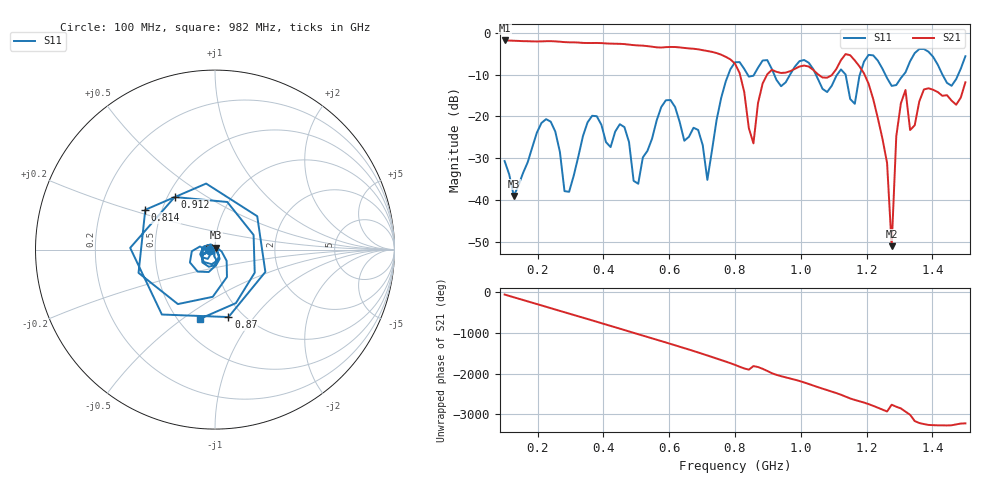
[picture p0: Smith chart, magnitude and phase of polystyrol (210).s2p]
! NanoVNA-App
! Date: 2025-09-25 15:31:31
! Start: 100MHz Stop: 1,5GHz Points: 101
! S-Parameter data: F S11 S21 S12 S22
# Hz S RI R 50
!  Frequency  S11_Real  S11_Imag  S21_Real  S21_Imag  S12_Real  S12_Imag  S22_Real  S22_Imag
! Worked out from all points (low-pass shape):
!   101 points, 100 MHz to 1.5 GHz, reference 50 ohm
!   highest |S21| = -1.80 dB at 100 MHz (marker M1); lowest = -51.1 dB at 1.276 GHz (marker M2)
!   |S21| within 3 dB of the highest: start of sweep to 743.1 MHz
!   lowest |S11| = -39.1 dB at 128 MHz (marker M3), VSWR 1.02, Z = 50.3 + j1.06 ohm
!   |S11| at or under -10 dB: start of sweep to 779.7 MHz; 1.046 GHz to 1.11 GHz (64.69 MHz wide, 6 % of centre); 1.257 GHz to 1.312 GHz (55.43 MHz wide, 4.31 % of centre) (the widest 3 of 7)
!   S12 and S22 are empty: the file has one direction only
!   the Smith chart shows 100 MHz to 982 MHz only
!   S11 on the Smith chart (normalised r, x): 100 MHz: 0.94, -0.01; 814 MHz: 0.40, +0.22; 870 MHz: 0.86, -0.75; 912 MHz: 0.54, +0.37; 982 MHz: 0.64, -0.58
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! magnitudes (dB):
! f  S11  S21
! 100 MHz  -30.7  -1.8
! 128 MHz  -39.1  -1.9
! 212 MHz  -21.6  -2.0
! 282 MHz  -37.9  -2.2
! 338 MHz  -24.7  -2.4
! 464 MHz  -22.6  -2.7
! 506 MHz  -36.2  -3.0
! 576 MHz  -17.8  -3.5
! 716 MHz  -35.2  -4.3
! 800 MHz  -7.0  -7.4
! 814 MHz  -7.0  -9.6
! 856 MHz  -10.3  -26.5
! 870 MHz  -8.3  -16.8
! 912 MHz  -8.7  -8.8
! 982 MHz  -8.1  -8.6
! 1.038 GHz  -8.7  -8.9
! 1.192 GHz  -6.9  -9.7
! 1.262 GHz  -10.8  -31.1
! 1.276 GHz  -12.7  -51.1
! 1.29 GHz  -12.5  -24.8
! 1.318 GHz  -9.4  -13.7
! 1.5 GHz  -5.6  -11.8
